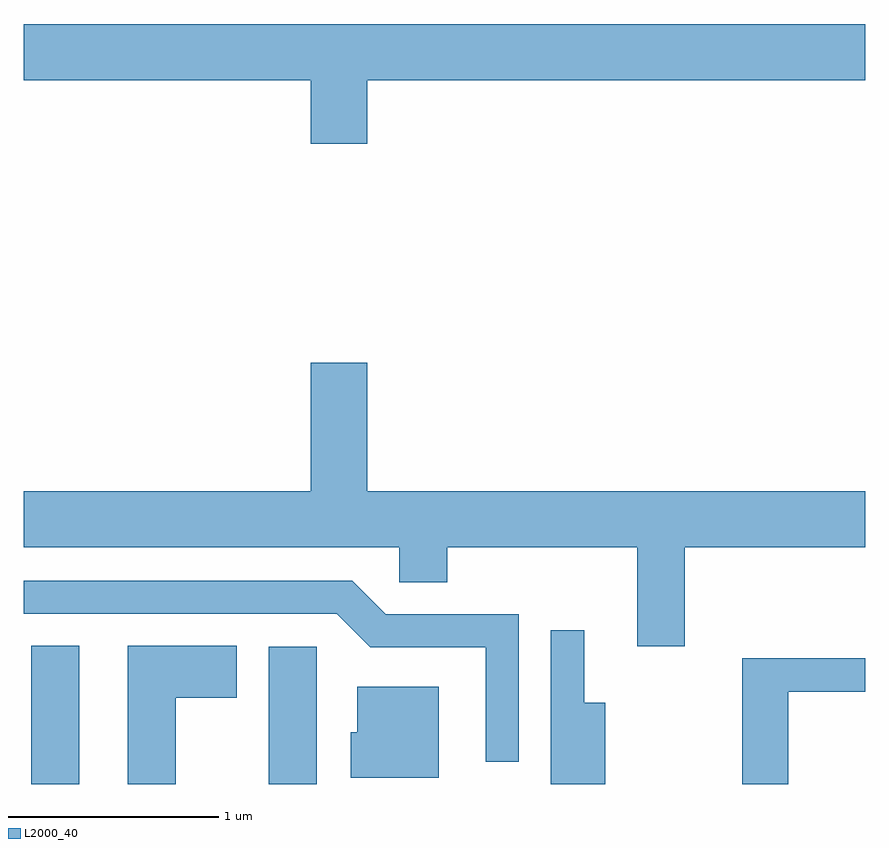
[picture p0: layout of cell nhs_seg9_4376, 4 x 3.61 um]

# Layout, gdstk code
import gdstk
lib = gdstk.Library(unit=1e-6, precision=1e-09)
def R(c, l, rs):  # rectangles x0, y0, x1, y1
    for r in rs: c.add(gdstk.rectangle(r[:2], r[2:], *l))
def P(c, l, *ps):  # polygons
    for p in ps: c.add(gdstk.Polygon(p, *l))
L2000_40 = (2000, 40)

nhs_seg9_4376 = lib.new_cell('nhs_seg9_4376')
R(nhs_seg9_4376, L2000_40, [(313.646,2028.432,313.874,2029.089), (314.776,2028.432,315.004,2029.084)])
P(nhs_seg9_4376, L2000_40, [(315.244,2031.776),(317.611,2031.776),(317.611,2032.044),(313.611,2032.044),(313.611,2031.776),(314.976,2031.776),(314.976,2031.476),(315.244,2031.476)],
  [(316.754,2029.556),(317.611,2029.556),(317.611,2029.824),(315.244,2029.824),(315.244,2030.434),(314.976,2030.434),(314.976,2029.824),(313.611,2029.824),(313.611,2029.556),(315.396,2029.556),(315.396,2029.391),(315.624,2029.391),(315.624,2029.556),(316.526,2029.556),(316.526,2029.086),(316.754,2029.086)],
  [(315.964,2029.239),(315.332,2029.239),(315.172,2029.399),(313.611,2029.399),(313.611,2029.241),(315.099,2029.241),(315.259,2029.081),(315.806,2029.081),(315.806,2028.538),(315.964,2028.538)],
  [(316.374,2028.819),(316.274,2028.819),(316.274,2029.163),(316.116,2029.163),(316.116,2028.432),(316.374,2028.432)],
  [(314.334,2028.841),(314.624,2028.841),(314.624,2029.089),(314.106,2029.089),(314.106,2028.432),(314.334,2028.432)],
  [(317.244,2028.871),(317.611,2028.871),(317.611,2029.029),(317.026,2029.029),(317.026,2028.432),(317.244,2028.432)],
  [(315.584,2028.894),(315.196,2028.894),(315.196,2028.679),(315.166,2028.679),(315.166,2028.461),(315.584,2028.461)])

lib.write_gds('nhs_seg9_4376.gds')
